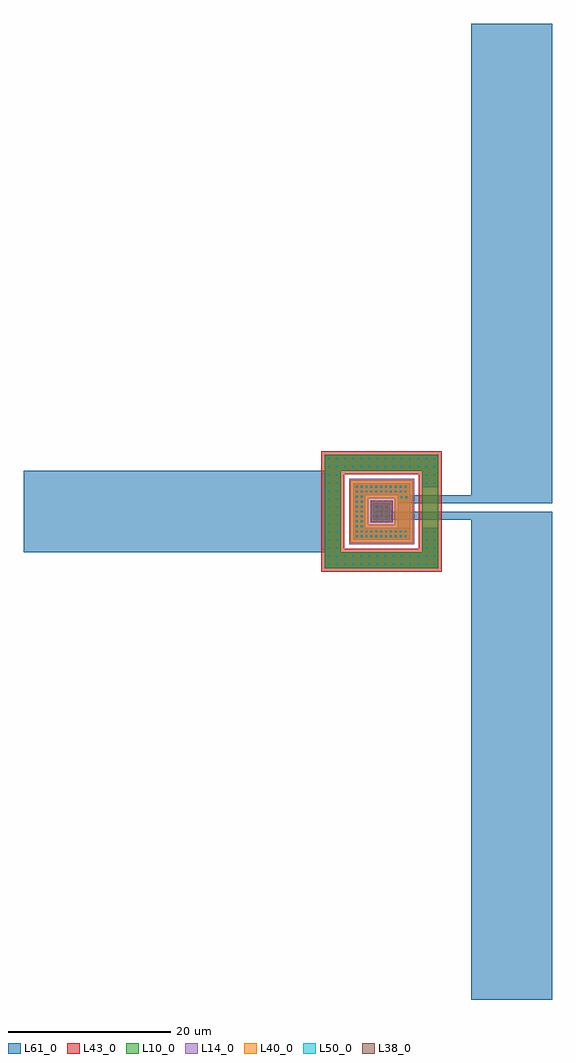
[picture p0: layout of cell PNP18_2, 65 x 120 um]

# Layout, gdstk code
import gdstk
lib = gdstk.Library(unit=1e-6, precision=1e-09)
def R(c, l, rs):  # rectangles x0, y0, x1, y1
    for r in rs: c.add(gdstk.rectangle(r[:2], r[2:], *l))
def P(c, l, *ps):  # polygons
    for p in ps: c.add(gdstk.Polygon(p, *l))
L10_0 = (10, 0)
L14_0 = (14, 0)
L38_0 = (38, 0)
L40_0 = (40, 0)
L43_0 = (43, 0)
L50_0 = (50, 0)
L61_0 = (61, 0)

cont022stc_tl001_m = lib.new_cell('CONT022STC_TL001_M')
R(cont022stc_tl001_m, L50_0, [(0,0,0.22,0.22)])

pnp18_2 = lib.new_cell('PNP18_2')
R(pnp18_2, L10_0, [(44,59,46,61)])
P(pnp18_2, L10_0, [(38,53),(38,67),(52,67),(52,53),(50,53),(50,65),(40,65),(40,55),(50,55),(50,53)],
  [(41.5,56.5),(41.5,63.5),(48.5,63.5),(48.5,56.5),(47,56.5),(47,62),(43,62),(43,58),(47,58),(47,56.5)])
R(pnp18_2, L14_0, [(41,56,49,64)])
R(pnp18_2, L38_0, [(43.7,58.7,46.3,61.3)])
P(pnp18_2, L40_0, [(41.15,56.15),(41.15,63.85),(48.85,63.85),(48.85,56.15),(46.65,56.15),(46.65,61.65),(43.35,61.65),(43.35,58.35),(46.65,58.35),(46.65,56.15)])
R(pnp18_2, L43_0, [(43.65,58.65,46.35,61.35)])
P(pnp18_2, L43_0, [(37.6,52.6),(37.6,67.4),(52.4,67.4),(52.4,52.6),(49.6,52.6),(49.6,64.6),(40.4,64.6),(40.4,55.4),(49.6,55.4),(49.6,52.6)])
R(pnp18_2, L61_0, [(56,0,66,60), (1,55,38,65), (46.5,56.5,48.5,58), (44,59,46,61), (46,59,56,60), (47,61,56,62), (56,61,66,120)])
P(pnp18_2, L61_0, [(41.5,56.5),(41.5,63.5),(48.5,63.5),(48.5,62),(43,62),(43,58),(46.5,58),(46.5,56.5)],
  [(50,63),(50,65),(45.95,65),(45.95,67),(52,67),(52,63)],
  [(46.5,53),(46.5,55),(50,55),(50,58),(52,58),(52,53)],
  [(38,53),(38,67),(45.95,67),(45.95,65),(40,65),(40,55),(46.5,55),(46.5,53)])
r = gdstk.Reference(cont022stc_tl001_m, (38.39,54.61), x_reflection=True); r.repetition = gdstk.Repetition(14, 2, v1=(1,0), v2=(0,-1)); pnp18_2.add(r)
r = gdstk.Reference(cont022stc_tl001_m, (47.34,61.86), x_reflection=True); r.repetition = gdstk.Repetition(2, 1, v1=(0.6,0), v2=(0,-1)); pnp18_2.add(r)
r = gdstk.Reference(cont022stc_tl001_m, (44.29,60.71), x_reflection=True); r.repetition = gdstk.Repetition(3, 3, v1=(0.6,0), v2=(0,-0.6)); pnp18_2.add(r)
r = gdstk.Reference(cont022stc_tl001_m, (41.84,61.91), x_reflection=True); r.repetition = gdstk.Repetition(2, 7, v1=(0.6,0), v2=(0,-0.6)); pnp18_2.add(r)
r = gdstk.Reference(cont022stc_tl001_m, (41.84,63.16), x_reflection=True); r.repetition = gdstk.Repetition(11, 2, v1=(0.6,0), v2=(0,-0.6)); pnp18_2.add(r)
r = gdstk.Reference(cont022stc_tl001_m, (41.84,57.66), x_reflection=True); r.repetition = gdstk.Repetition(11, 2, v1=(0.6,0), v2=(0,-0.6)); pnp18_2.add(r)
r = gdstk.Reference(cont022stc_tl001_m, (50.39,57.61), x_reflection=True); r.repetition = gdstk.Repetition(2, 3, v1=(1,0), v2=(0,-1)); pnp18_2.add(r)
r = gdstk.Reference(cont022stc_tl001_m, (50.39,64.61), x_reflection=True); r.repetition = gdstk.Repetition(2, 2, v1=(1,0), v2=(0,-1)); pnp18_2.add(r)
r = gdstk.Reference(cont022stc_tl001_m, (38.39,64.61), x_reflection=True); r.repetition = gdstk.Repetition(2, 10, v1=(1,0), v2=(0,-1)); pnp18_2.add(r)
r = gdstk.Reference(cont022stc_tl001_m, (38.39,66.61), x_reflection=True); r.repetition = gdstk.Repetition(14, 2, v1=(1,0), v2=(0,-1)); pnp18_2.add(r)

lib.write_gds('PNP18_2.gds')
